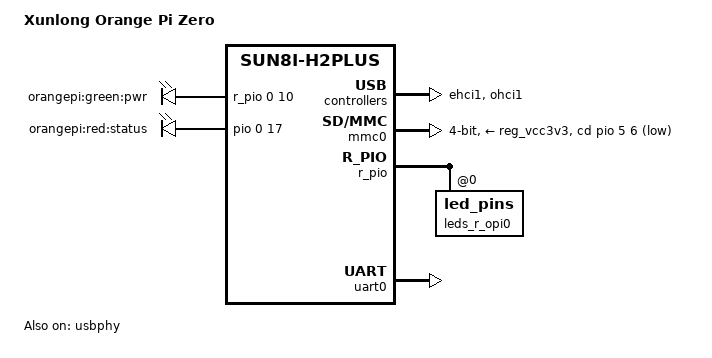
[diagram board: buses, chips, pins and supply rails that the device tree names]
/dts-v1/;
#include "sun8i-h3.dtsi"
#include "sunxi-common-regulators.dtsi"

#include <dt-bindings/gpio/gpio.h>
#include <dt-bindings/input/input.h>
#include <dt-bindings/pinctrl/sun4i-a10.h>

/ {
model = "Xunlong Orange Pi Zero";
compatible = "xunlong,orangepi-zero", "allwinner,sun8i-h2plus";

aliases {
serial0 = &uart0;
};

chosen {
stdout-path = "serial0:115200n8";
};

leds {
compatible = "gpio-leds";
pinctrl-names = "default";
pinctrl-0 = <&leds_opi0>, <&leds_r_opi0>;

pwr_led {
label = "orangepi:green:pwr";
gpios = <&r_pio 0 10 GPIO_ACTIVE_HIGH>;
default-state = "on";
};

status_led {
label = "orangepi:red:status";
	gpios = <&pio 0 17 GPIO_ACTIVE_HIGH>;
		};
	};
};

&ehci1 {
	status = "okay";
};

&mmc0 {
	pinctrl-names = "default";
	pinctrl-0 = <&mmc0_pins_a>, <&mmc0_cd_pin>;
	vmmc-supply = <&reg_vcc3v3>;
	bus-width = <4>;
	cd-gpios = <&pio 5 6 GPIO_ACTIVE_HIGH>; /* PF6 */
	cd-inverted;
	status = "okay";
};

&ohci1 {
	status = "okay";
};

&pio {
	leds_opi0: led_pins@0 {
		pins = "PA17";
		function = "gpio_out";
	};
};

&r_pio {
	leds_r_opi0: led_pins@0 {
		pins = "PL10";
		function = "gpio_out";
	};
};

&uart0 {
	pinctrl-names = "default";
	pinctrl-0 = <&uart0_pins_a>;
	status = "okay";
};

&usbphy {
	/* USB VBUS is always on */
	status = "okay";

};
